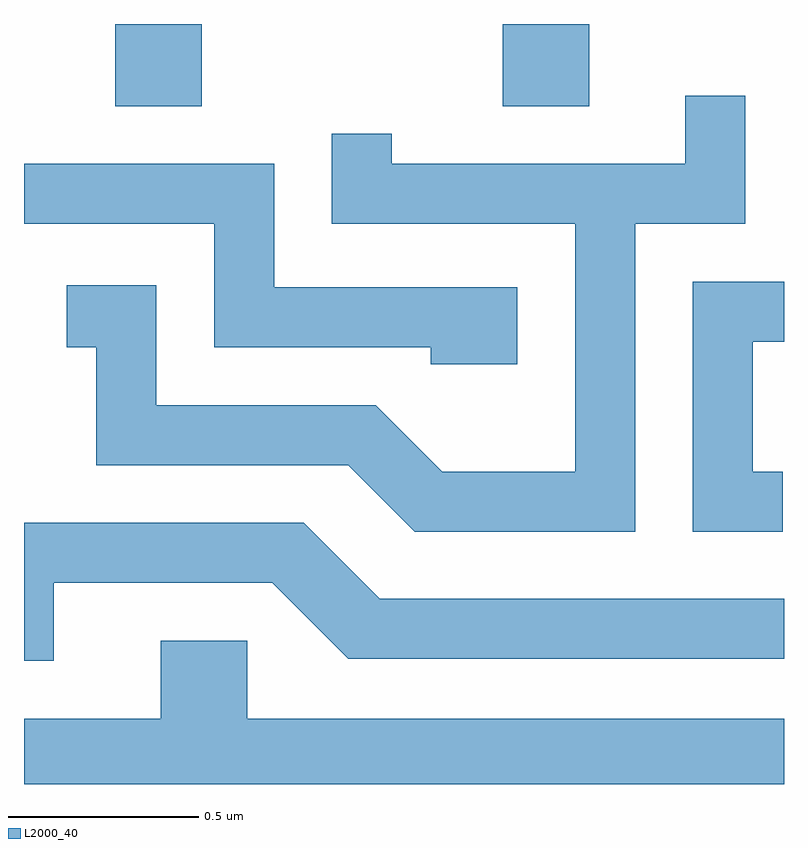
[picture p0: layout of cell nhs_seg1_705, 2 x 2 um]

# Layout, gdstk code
import gdstk
lib = gdstk.Library(unit=1e-6, precision=1e-09)
def R(c, l, rs):  # rectangles x0, y0, x1, y1
    for r in rs: c.add(gdstk.rectangle(r[:2], r[2:], *l))
def P(c, l, *ps):  # polygons
    for p in ps: c.add(gdstk.Polygon(p, *l))
L2000_40 = (2000, 40)

nhs_seg1_705 = lib.new_cell('nhs_seg1_705')
R(nhs_seg1_705, L2000_40, [(190.851,861.496,191.079,861.712), (191.871,861.496,192.099,861.712)])
P(nhs_seg1_705, L2000_40, [(192.219,861.186),(192.509,861.186),(192.509,861.523),(192.351,861.523),(192.351,861.344),(191.579,861.344),(191.579,861.423),(191.421,861.423),(191.421,861.186),(192.061,861.186),(192.061,860.534),(191.712,860.534),(191.537,860.709),(190.959,860.709),(190.959,861.024),(190.723,861.024),(190.723,860.861),(190.801,860.861),(190.801,860.551),(191.464,860.551),(191.639,860.376),(192.219,860.376)],
  [(191.909,861.019),(191.269,861.019),(191.269,861.344),(190.611,861.344),(190.611,861.186),(191.111,861.186),(191.111,860.861),(191.681,860.861),(191.681,860.816),(191.909,860.816)],
  [(192.608,860.534),(192.529,860.534),(192.529,860.876),(192.611,860.876),(192.611,861.034),(192.371,861.034),(192.371,860.376),(192.608,860.376)],
  [(190.689,860.241),(191.264,860.241),(191.464,860.041),(192.611,860.041),(192.611,860.199),(191.547,860.199),(191.347,860.399),(190.611,860.399),(190.611,860.036),(190.689,860.036)],
  [(192.611,859.884),(191.199,859.884),(191.199,860.089),(190.971,860.089),(190.971,859.884),(190.611,859.884),(190.611,859.712),(192.611,859.712)])

lib.write_gds('nhs_seg1_705.gds')
